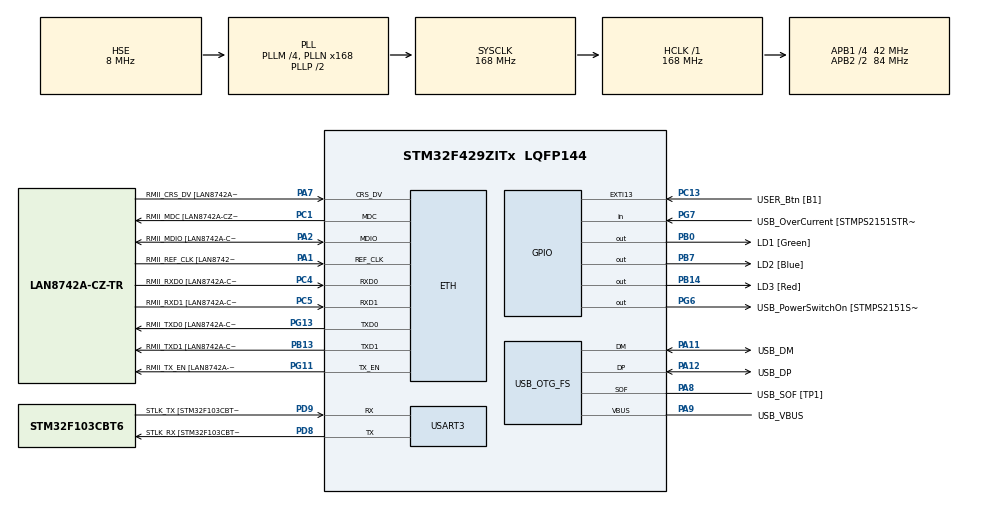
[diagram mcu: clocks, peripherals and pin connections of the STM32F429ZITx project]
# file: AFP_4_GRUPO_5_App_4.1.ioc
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ETH.MediaInterface=HAL_ETH_RMII_MODE
ETH.PHY_Name=LAN8742A_PHY_ADDRESS
ETH.PHY_Value=0
ETH.PhyAddress=0
Mcu.Family=STM32F4
Mcu.Name=STM32F429ZITx
Mcu.Package=LQFP144
NVIC.PriorityGroup=NVIC_PRIORITYGROUP_4
PA1.GPIO_Label=RMII_REF_CLK [LAN8742A-CZ-TR_REFCLK0]
PA1.Mode=RMII
PA1.Signal=ETH_REF_CLK
PA10.GPIO_Label=USB_ID
PA10.Signal=USB_OTG_FS_ID
PA11.GPIO_Label=USB_DM
PA11.Mode=Device_Only
PA11.Signal=USB_OTG_FS_DM
PA12.GPIO_Label=USB_DP
PA12.Mode=Device_Only
PA12.Signal=USB_OTG_FS_DP
PA13.GPIO_Label=TMS
PA13.Mode=Serial_Wire
PA13.Signal=SYS_JTMS-SWDIO
PA14.GPIO_Label=TCK
PA14.Mode=Serial_Wire
PA14.Signal=SYS_JTCK-SWCLK
PA2.GPIO_Label=RMII_MDIO [LAN8742A-CZ-TR_MDIO]
PA2.Mode=RMII
PA2.Signal=ETH_MDIO
PA7.GPIO_Label=RMII_CRS_DV [LAN8742A-CZ-TR_CRS_DV]
PA7.Mode=RMII
PA7.Signal=ETH_CRS_DV
PA8.GPIO_Label=USB_SOF [TP1]
PA8.Mode=Activate_SOF_FS
PA8.Signal=USB_OTG_FS_SOF
PA9.GPIO_Label=USB_VBUS
PA9.Mode=Activate_VBUS
PA9.Signal=USB_OTG_FS_VBUS
PB0.GPIO_Label=LD1 [Green]
PB0.Signal=GPIO_Output
PB13.GPIO_Label=RMII_TXD1 [LAN8742A-CZ-TR_TXD1]
PB13.Mode=RMII
PB13.Signal=ETH_TXD1
PB14.GPIO_Label=LD3 [Red]
PB14.Signal=GPIO_Output
PB7.GPIO_Label=LD2 [Blue]
PB7.Signal=GPIO_Output
PC1.GPIO_Label=RMII_MDC [LAN8742A-CZ-TR_MDC]
PC1.Mode=RMII
PC1.Signal=ETH_MDC
PC13.GPIO_Label=USER_Btn [B1]
PC13.Signal=GPXTI13
PC14/OSC32_IN.Mode=LSE-External-Oscillator
PC14/OSC32_IN.Signal=RCC_OSC32_IN
PC15/OSC32_OUT.Mode=LSE-External-Oscillator
PC15/OSC32_OUT.Signal=RCC_OSC32_OUT
PC4.GPIO_Label=RMII_RXD0 [LAN8742A-CZ-TR_RXD0]
PC4.Mode=RMII
PC4.Signal=ETH_RXD0
PC5.GPIO_Label=RMII_RXD1 [LAN8742A-CZ-TR_RXD1]
PC5.Mode=RMII
PC5.Signal=ETH_RXD1
PD8.GPIO_Label=STLK_RX [STM32F103CBT6_PA3]
PD8.Mode=Asynchronous
PD8.Signal=USART3_TX
PD9.GPIO_Label=STLK_TX [STM32F103CBT6_PA2]
PD9.Mode=Asynchronous
PD9.Signal=USART3_RX
PG11.GPIO_Label=RMII_TX_EN [LAN8742A-CZ-TR_TXEN]
PG11.Mode=RMII
PG11.Signal=ETH_TX_EN
PG13.GPIO_Label=RMII_TXD0 [LAN8742A-CZ-TR_TXD0]
PG13.Mode=RMII
PG13.Signal=ETH_TXD0
PG6.GPIO_Label=USB_PowerSwitchOn [STMPS2151STR_EN]
PG6.Signal=GPIO_Output
PG7.GPIO_Label=USB_OverCurrent [STMPS2151STR_FAULT]
PG7.Signal=GPIO_Input
PH0/OSC_IN.GPIO_Label=MCO [STM32F103CBT6_PA8]
PH0/OSC_IN.Mode=HSE-External-Clock-Source
PH0/OSC_IN.Signal=RCC_OSC_IN
PH1/OSC_OUT.Mode=HSE-External-Clock-Source
PH1/OSC_OUT.Signal=RCC_OSC_OUT
ProjectManager.HeapSize=0x200
ProjectManager.StackSize=0x400
ProjectManager.TargetToolchain=STM32CubeIDE
RCC.48MHZClocksFreq_Value=48000000
RCC.AHBFreq_Value=168000000
RCC.APB1CLKDivider=RCC_HCLK_DIV4
RCC.APB1Freq_Value=42000000
RCC.APB1TimFreq_Value=84000000
RCC.APB2CLKDivider=RCC_HCLK_DIV2
RCC.APB2Freq_Value=84000000
RCC.APB2TimCLKDivider=2
RCC.APB2TimFreq_Value=168000000
RCC.CortexFreq_Value=168000000
RCC.HCLKFreq_Value=168000000
RCC.HSE_VALUE=8000000
RCC.HSI_VALUE=16000000
RCC.PLLM=4
RCC.PLLMUL=RCC_PLL_MUL9
RCC.PLLN=168
RCC.PLLQ=7
RCC.PRESCALERUSB=RCC_USBCLKSOURCE_PLL_DIV1_5
RCC.SYSCLKFreq_VALUE=168000000
RCC.SYSCLKSource=RCC_SYSCLKSOURCE_PLLCLK
RCC.SYSCLKSourceVirtual=RCC_SYSCLKSOURCE_PLLCLK
RCC.USBFreq_Value=48000000
RCC.VCOOutputFreq_Value=336000000
USART3.VirtualMode=VM_ASYNC
USB_OTG_FS.VirtualMode=Device_Only
board=NUCLEO-F429ZI

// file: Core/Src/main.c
/* USER CODE BEGIN Header */
/**
  ******************************************************************************
  * @file           : main.c
  * @brief          : Main program body
  ******************************************************************************
  * @attention
  *
  * Copyright (c) 2024 STMicroelectronics.
  * All rights reserved.
  *
  * This software is licensed under terms that can be found in the LICENSE file
  * in the root directory of this software component.
  * If no LICENSE file comes with this software, it is provided AS-IS.
  *
  ******************************************************************************
  */
/* USER CODE END Header */
#include "main.h"
#include "string.h"
#include "API_Delay.h"
#include "API_GPIO.h"

ETH_TxPacketConfig TxConfig;
ETH_DMADescTypeDef  DMARxDscrTab[ETH_RX_DESC_CNT]; /* Ethernet Rx DMA Descriptors */
ETH_DMADescTypeDef  DMATxDscrTab[ETH_TX_DESC_CNT]; /* Ethernet Tx DMA Descriptors */

ETH_HandleTypeDef heth;

UART_HandleTypeDef huart3;

PCD_HandleTypeDef hpcd_USB_OTG_FS;

void SystemClock_Config(void);
void MX_GPIO_Init(void);
static void MX_ETH_Init(void);
static void MX_USART3_UART_Init(void);
static void MX_USB_OTG_FS_PCD_Init(void);

/* USER CODE BEGIN 0 */
/* USER CODE BEGIN 0 */

/* USER CODE END 0 */
// Inicialización del debounce del botón
debounceFSM_int();
int main(void)
{

	  /* MCU Configuration--------------------------------------------------------*/

	  /* Reset of all peripherals, Initializes the Flash interface and the Systick. */
	  HAL_Init();

	  /* USER CODE BEGIN Init */
	  uint16_t vector_leds [CANT_LEDS] = {LD1_Pin, LD2_Pin, LD3_Pin};

	  uint8_t led_actual = 0;

	   delay_t timer_secuencia;
	   delayInit(&timer_secuencia, Delay_ms);

	  /* USER CODE END Init */

	  /* Configure the system clock */
	  SystemClock_Config();

	  /* USER CODE BEGIN SysInit */
	  bool_t estado_led = false;
	  /* USER CODE END SysInit */

	  /* Initialize all configured peripherals */
	  MX_GPIO_Init();

	  MX_USART3_UART_Init();
	  MX_USB_OTG_FS_PCD_Init();

	  /* Infinite loop */
	  /* USER CODE BEGIN WHILE */

	  while (1)
	    {
	  	  /* Secuencia */
	  	  if(delayRead(&timer_secuencia)){
	  		  if(estado_led){
	  			  writeLedOff_GPIO(vector_leds[led_actual]);

	  			  /* Seleccionar el siguiente led de la secuencia*/
	  			  if(led_actual == (CANT_LEDS-1)){
	  				  led_actual = 0;
	  			  }else{
	  				  led_actual++;
	  			  }
	  			  estado_led = false;
	  		  }else{
	  			  writeLedOn_GPIO(vector_leds[led_actual]);
	  			  estado_led = true;
	  		  }
	  	  }
	      /* USER CODE END WHILE */

	      /* USER CODE BEGIN 3 */
	    }

	/**
	  * @brief System Clock Configuration
	  * @retval None
	  */
}

void SystemClock_Config(void)
{
  RCC_OscInitTypeDef RCC_OscInitStruct = {0};
  RCC_ClkInitTypeDef RCC_ClkInitStruct = {0};

  /** Configure the main internal regulator output voltage
  */
  __HAL_RCC_PWR_CLK_ENABLE();
  __HAL_PWR_VOLTAGESCALING_CONFIG(PWR_REGULATOR_VOLTAGE_SCALE1);

  /** Initializes the RCC Oscillators according to the specified parameters
  * in the RCC_OscInitTypeDef structure.
  */
  RCC_OscInitStruct.OscillatorType = RCC_OSCILLATORTYPE_HSE;
  RCC_OscInitStruct.HSEState = RCC_HSE_BYPASS;
  RCC_OscInitStruct.PLL.PLLState = RCC_PLL_ON;
  RCC_OscInitStruct.PLL.PLLSource = RCC_PLLSOURCE_HSE;
  RCC_OscInitStruct.PLL.PLLM = 4;
  RCC_OscInitStruct.PLL.PLLN = 168;
  RCC_OscInitStruct.PLL.PLLP = RCC_PLLP_DIV2;
  RCC_OscInitStruct.PLL.PLLQ = 7;
  if (HAL_RCC_OscConfig(&RCC_OscInitStruct) != HAL_OK)
  {
    Error_Handler();
  }

  /** Initializes the CPU, AHB and APB buses clocks
  */
  RCC_ClkInitStruct.ClockType = RCC_CLOCKTYPE_HCLK|RCC_CLOCKTYPE_SYSCLK
                              |RCC_CLOCKTYPE_PCLK1|RCC_CLOCKTYPE_PCLK2;
  RCC_ClkInitStruct.SYSCLKSource = RCC_SYSCLKSOURCE_PLLCLK;
  RCC_ClkInitStruct.AHBCLKDivider = RCC_SYSCLK_DIV1;
  RCC_ClkInitStruct.APB1CLKDivider = RCC_HCLK_DIV4;
  RCC_ClkInitStruct.APB2CLKDivider = RCC_HCLK_DIV2;

  if (HAL_RCC_ClockConfig(&RCC_ClkInitStruct, FLASH_LATENCY_5) != HAL_OK)
  {
    Error_Handler();
  }
}

static void MX_ETH_Init(void)
{

   static uint8_t MACAddr[6];

  heth.Instance = ETH;
  MACAddr[0] = 0x00;
  MACAddr[1] = 0x80;
  MACAddr[2] = 0xE1;
  MACAddr[3] = 0x00;
  MACAddr[4] = 0x00;
  MACAddr[5] = 0x00;
  heth.Init.MACAddr = &MACAddr[0];
  heth.Init.MediaInterface = HAL_ETH_RMII_MODE;
  heth.Init.TxDesc = DMATxDscrTab;
  heth.Init.RxDesc = DMARxDscrTab;
  heth.Init.RxBuffLen = 1524;

  if (HAL_ETH_Init(&heth) != HAL_OK)
  {
    Error_Handler();
  }

  memset(&TxConfig, 0 , sizeof(ETH_TxPacketConfig));
  TxConfig.Attributes = ETH_TX_PACKETS_FEATURES_CSUM | ETH_TX_PACKETS_FEATURES_CRCPAD;
  TxConfig.ChecksumCtrl = ETH_CHECKSUM_IPHDR_PAYLOAD_INSERT_PHDR_CALC;
  TxConfig.CRCPadCtrl = ETH_CRC_PAD_INSERT;

}

static void MX_USART3_UART_Init(void)
{

  huart3.Instance = USART3;
  huart3.Init.BaudRate = 115200;
  huart3.Init.WordLength = UART_WORDLENGTH_8B;
  huart3.Init.StopBits = UART_STOPBITS_1;
  huart3.Init.Parity = UART_PARITY_NONE;
  huart3.Init.Mode = UART_MODE_TX_RX;
  huart3.Init.HwFlowCtl = UART_HWCONTROL_NONE;
  huart3.Init.OverSampling = UART_OVERSAMPLING_16;
  if (HAL_UART_Init(&huart3) != HAL_OK)
  {
    Error_Handler();
  }

}

static void MX_USB_OTG_FS_PCD_Init(void)
{

  hpcd_USB_OTG_FS.Instance = USB_OTG_FS;
  hpcd_USB_OTG_FS.Init.dev_endpoints = 4;
  hpcd_USB_OTG_FS.Init.speed = PCD_SPEED_FULL;
  hpcd_USB_OTG_FS.Init.dma_enable = DISABLE;
  hpcd_USB_OTG_FS.Init.phy_itface = PCD_PHY_EMBEDDED;
  hpcd_USB_OTG_FS.Init.Sof_enable = ENABLE;
  hpcd_USB_OTG_FS.Init.low_power_enable = DISABLE;
  hpcd_USB_OTG_FS.Init.lpm_enable = DISABLE;
  hpcd_USB_OTG_FS.Init.vbus_sensing_enable = ENABLE;
  hpcd_USB_OTG_FS.Init.use_dedicated_ep1 = DISABLE;
  if (HAL_PCD_Init(&hpcd_USB_OTG_FS) != HAL_OK)
  {
    Error_Handler();
  }

}

void Error_Handler(void)
{
  __disable_irq();
  while (1)
  {
  }
}
